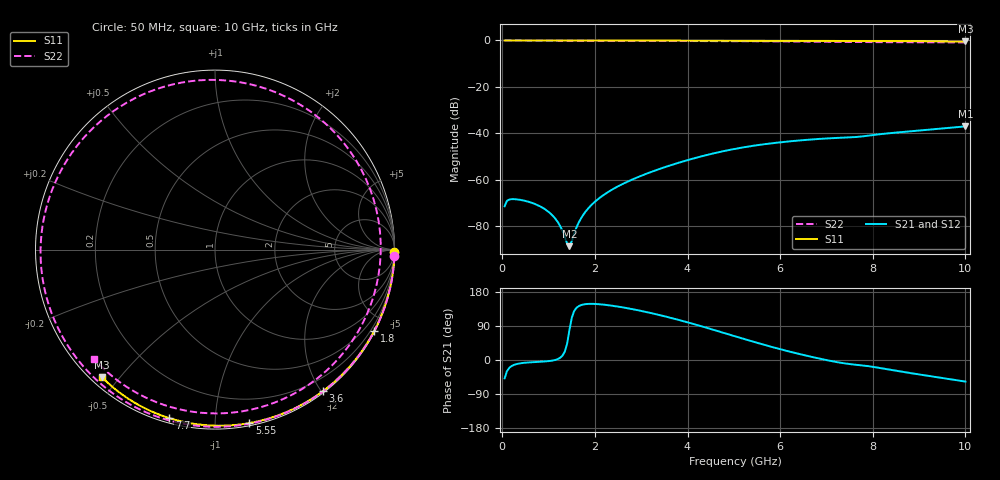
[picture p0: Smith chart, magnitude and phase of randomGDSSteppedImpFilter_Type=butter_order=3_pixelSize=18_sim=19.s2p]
! freq	dB(S11)	phase(S11)	dB(S12)	phase(S12)
!  dB(S21)	phase(S21)	dB(S22)	phase(S22)
!S-par simulation data
#  GHz  S  DB  R 50
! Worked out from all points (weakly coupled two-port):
!   200 points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, 50 MHz to 10 GHz, reference 50 ohm
!   highest |S21| = -37.00 dB at 10 GHz (marker M1); lowest = -88.6 dB at 1.45 GHz (marker M2)
!   lowest |S11| = -0.4 dB at 10 GHz (marker M3), VSWR 38.70, Z = 1.56 - j22.6 ohm
!   |S11| at or under -10 dB: nowhere
!   |S22| runs from -0.8 to 0.0 dB; largest |S21 - S12| = 0
!   S11 on the Smith chart (normalised r, x): 50 MHz: open; 1.8 GHz: 0.04, -4.17; 3.6 GHz: 0.02, -2.02; 5.55 GHz: 0.02, -1.22; 7.7 GHz: 0.02, -0.77; 10 GHz: 0.03, -0.45
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0.05  -0.00 -0.8  -71.40 -48.5  -71.40 -48.5  -0.00 -2.1
0.2  -0.00 -3.0  -68.34 -16.0  -68.34 -16.0  -0.00 -8.5
0.6  -0.01 -9.1  -69.65 -6.1  -69.65 -6.1  -0.02 -25.4
1  -0.02 -15.1  -73.82 -2.9  -73.82 -2.9  -0.05 -42.0
1.25  -0.02 -18.8  -79.91 6.0  -79.91 6.0  -0.06 -52.1
1.45  -0.03 -21.8  -88.57 79.1  -88.57 79.1  -0.07 -60.1
1.6  -0.03 -24.0  -80.61 137.4  -80.61 137.4  -0.08 -66.0
1.75  -0.03 -26.2  -75.02 146.5  -75.02 146.5  -0.09 -71.8
1.8  -0.03 -27.0  -73.65 147.5  -73.65 147.5  -0.09 -73.8
2.4  -0.05 -35.7  -63.88 142.8  -63.88 142.8  -0.12 -96.5
3.4  -0.07 -50.0  -55.29 118.5  -55.29 118.5  -0.16 -133.0
3.6  -0.07 -52.7  -53.96 112.4  -53.96 112.4  -0.17 -140.2
4.35  -0.09 -63.0  -49.64 87.3  -49.64 87.3  -0.22 -167.9
5.05  -0.11 -72.3  -46.58 61.7  -46.58 61.7  -0.29 163.9
5.55  -0.13 -78.8  -44.97 43.7  -44.97 43.7  -0.34 141.3
6.2  -0.16 -87.0  -43.45 22.3  -43.45 22.3  -0.44 107.0
6.7  -0.18 -93.1  -42.59 7.7  -42.59 7.7  -0.53 75.7
7.25  -0.21 -99.8  -41.95 -6.1  -41.95 -6.1  -0.62 36.4
7.7  -0.24 -105.1  -41.47 -13.2  -41.47 -13.2  -0.69 2.3
8.35  -0.29 -112.7  -39.95 -25.2  -39.95 -25.2  -0.75 -45.1
9.1  -0.35 -121.3  -38.60 -40.0  -38.60 -40.0  -0.79 -92.0
10  -0.45 -131.4  -37.00 -56.9  -37.00 -56.9  -0.84 -137.7
